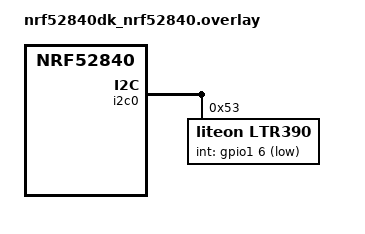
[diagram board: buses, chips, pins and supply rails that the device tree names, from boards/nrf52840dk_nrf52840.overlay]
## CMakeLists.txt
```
# Copyright (c) 2022 Luke Holt
# SPDX-License-Identifier: Apache-2.0

cmake_minimum_required(VERSION 3.20.0)
find_package(Zephyr REQUIRED HINTS $ENV{ZEPHYR_BASE})
project(ltr390_sample)

FILE(GLOB app_sources src/*.c)
target_sources(app PRIVATE ${app_sources})
```

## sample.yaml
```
sample:
  name: LTR390 Sensor Sample
tests:
  sample.sensor.ltr390:
    harness: sensor
    tags: sensors
    depends_on: i2c
    filter: dt_compat_enabled("liteon,ltr390")
    platform_allow: nucleo_f411re
    integration_platforms:
      - nucleo_f411re
      - nrf52840dk_nrf52840
```

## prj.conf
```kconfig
CONFIG_LOG=y
CONFIG_SENSOR=y
CONFIG_LTR390=y

# Trigger own thread
# CONFIG_LTR390_TRIGGER_OWN_THREAD=y
# CONFIG_LTR390_THREAD_STACK_SIZE=1024
# CONFIG_LTR390_THREAD_PRIORITY=10

# Trigger global thread
# CONFIG_LTR390_TRIGGER_GLOBAL_THREAD=y

CONFIG_SENSOR_LOG_LEVEL_INF=y
CONFIG_I2C=y
```

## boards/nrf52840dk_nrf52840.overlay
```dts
/*
 * Copyright (c) 2022 Luke Holt
 * SPDX-License-Identifier: Apache-2.0
 */


&i2c0 {
    compatible = "nordic,nrf-twi";
    status = "okay";

    ltr390@53 {
        compatible = "liteon,ltr390";
        reg = <0x53>;

        /*
         * Resolution options 0-5
         * 0: 20 Bit
         * 1: 19 Bit
         * 2: 18 Bit
         * 3: 17 Bit
         * 4: 16 Bit
         * 5: 13 Bit
         */
        resolution = <2>;

        /*
         * Rate options 0-6
         * 0: 25ms
         * 1: 50ms
         * 2: 100ms
         * 3: 200ms
         * 4: 500ms
         * 5: 1000ms
         * 6: 2000ms
         */
        rate = <2>;

        /*
         * Gain options 0-5
         * 0: 1
         * 1: 3
         * 2: 6
         * 3: 9
         * 4: 18
         */
        gain = <1>;

        int-gpios = <&gpio1 6 (GPIO_PULL_UP | GPIO_ACTIVE_LOW)>;

        /*
         * Interrupt persist options range [1, 16]
         */
        int_persist = <1>;
    };
};
```

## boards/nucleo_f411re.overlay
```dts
/*
 * Copyright (c) 2022 Luke Holt
 * SPDX-License-Identifier: Apache-2.0
 */


&i2c1 {
    ltr390@53 {
        compatible = "liteon,ltr390";
        reg = <0x53>;

        /*
         * Resolution options 0-5
         * 0: 20 Bit
         * 1: 19 Bit
         * 2: 18 Bit
         * 3: 17 Bit
         * 4: 16 Bit
         * 5: 13 Bit
         */
        resolution = <2>;

        /*
         * Rate options 0-6
         * 0: 25ms
         * 1: 50ms
         * 2: 100ms
         * 3: 200ms
         * 4: 500ms
         * 5: 1000ms
         * 6: 2000ms
         */
        rate = <2>;

        /*
         * Gain options 0-5
         * 0: 1
         * 1: 3
         * 2: 6
         * 3: 9
         * 4: 18
         */
        gain = <1>;

        int-gpios = <&gpiob 4 (GPIO_PULL_UP | GPIO_ACTIVE_LOW)>;

        /*
         * Interrupt persist options range [1, 16]
         */
        int_persist = <1>;
    };
};
```

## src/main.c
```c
/*
 * Copyright (c) 2022, Luke Holt
 * SPDX-License-Identifier: Apache-2.0
 */

#include <stdio.h>

#include <zephyr/device.h>
#include <zephyr/devicetree.h>
#include <zephyr/drivers/sensor.h>
#include <zephyr/kernel.h>

#ifdef CONFIG_LTR390_TRIGGER

#define INITIAL_LIGHT_LEVEL  100.0
#define LIGHT_LEVEL_VARIANCE 3

static struct sensor_trigger trigger;

static int set_window(const struct device *dev, enum sensor_channel chan, const double light_level)
{
	int rc;

	struct sensor_value lower, upper;

	rc = sensor_value_from_double(&lower, light_level - LIGHT_LEVEL_VARIANCE);
	if (rc < 0) {
		printf("Could not convert double to value struct");
		return rc;
	}
	rc = sensor_value_from_double(&upper, light_level + LIGHT_LEVEL_VARIANCE);
	if (rc < 0) {
		printf("Could not convert double to value struct");
		return rc;
	}

	rc = sensor_attr_set(dev, chan, SENSOR_ATTR_LOWER_THRESH, &lower);
	if (rc < 0) {
		printf("Could not set lower threshold");
		return rc;
	}

	rc = sensor_attr_set(dev, chan, SENSOR_ATTR_UPPER_THRESH, &upper);
	if (rc < 0) {
		printf("Could not set lower threshold");
		return rc;
	}

	printf("Alert on ambient light [%d.%06d, %d.%06d] lux\n", lower.val1, lower.val2,
	       upper.val1, upper.val2);

	return 0;
}

static void trigger_handler(const struct device *dev, const struct sensor_trigger *trig)
{
	struct sensor_value val;
	static size_t cnt;
	int rc;

	++cnt;
	rc = sensor_sample_fetch(dev);
	if (rc < 0) {
		printf("sensor_sample_fetch error: %d\n", rc);
		return;
	}

	rc = sensor_channel_get(dev, trig->chan, &val);
	if (rc < 0) {
		printf("sensor_channel_get error: %d\n", rc);
		return;
	}

	printf("Trigger fired %u, val: %d.%06d\n", cnt, val.val1, val.val2);

	set_window(dev, trig->chan, sensor_value_to_double(&val));
}
#endif /* CONFIG_LTR390_TRIGGER */

void main(void)
{
	/*
	 * Get "liteon,ltr390" from DT.
	 */
	const struct device *dev = DEVICE_DT_GET_ANY(liteon_ltr390);
	int rc;

	if (dev == NULL) {
		/* Node not found, or does not have OK status. */
		printk("\nERROR: no device found.\n");
	}

	if (!device_is_ready(dev)) {
		printk("\nERROR: Device\"%s\" is not ready.\n", dev->name);
	}

	printk("Found device \"%s\"\n", dev->name);

#ifdef CONFIG_LTR390_TRIGGER
	rc = set_window(dev, SENSOR_CHAN_LIGHT, INITIAL_LIGHT_LEVEL);
	if (rc < 0) {
		printf("Failed to set window");
	} else {
		trigger.type = SENSOR_TRIG_THRESHOLD;
		trigger.chan = SENSOR_CHAN_LIGHT;
		rc = sensor_trigger_set(dev, &trigger, trigger_handler);
		if (rc < 0) {
			printf("Failed to set trigger");
		}
	}
#endif

	while (1) {
		struct sensor_value light, uvi;

		rc = sensor_sample_fetch(dev);
		if (rc != 0) {
			printf("sensor_sample_fetch error: %d\n", rc);
		}

		rc = sensor_channel_get(dev, SENSOR_CHAN_LIGHT, &light);
		if (rc != 0) {
			printf("sensor_channel_get error: %d\n", rc);
		}

		rc = sensor_channel_get(dev, SENSOR_CHAN_UVI, &uvi);
		if (rc != 0) {
			printf("sensor_channel_get error: %d\n", rc);
		}

		if (rc == 0) {
			printf("Light: \t%d.%06d lux\tUVI: \t%d.%06d\n", light.val1, light.val2,
			       uvi.val1, uvi.val2);
		}

		k_sleep(K_MSEC(5000));
	}
}
```
